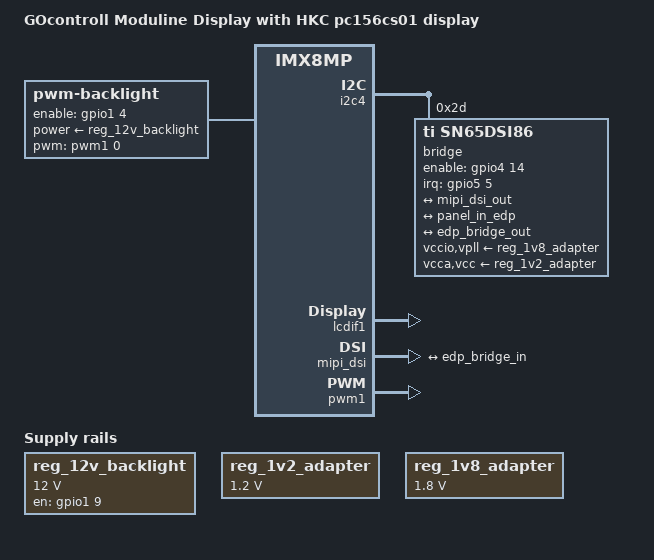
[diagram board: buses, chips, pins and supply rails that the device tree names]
// SPDX-License-Identifier: (GPL-2.0 OR MIT)
/*
 * Copyright 2025 GOcontroll B.V.
 * Author: Maud Spierings <maudspierings@gocontroll.com>
 */

/dts-v1/;

#include "imx8mp-tx8p-ml81-moduline-display-106.dtsi"

/ {
	model = "GOcontroll Moduline Display with HKC pc156cs01 display";

	backlight: backlight {
		compatible = "pwm-backlight";
		pwms = <&pwm1 0 2000000 0>;

		pinctrl-names = "default";
		pinctrl-0 = <&pinctrl_backlight>;
		power-supply = <&reg_12v_backlight>;
		enable-gpios = <&gpio1 4 GPIO_ACTIVE_HIGH>;

		brightness-levels = <0 50 100>;
		default-brightness-level = <50>;
		num-interpolated-steps = <50>;
	};

	dsi86_clk: dsi86-clk {
		compatible = "fixed-clock";
		#clock-cells = <0>;
		clock-frequency = <27000000>;
	};

	reg_12v_backlight: regulator-12v-backlight {
		compatible = "regulator-fixed";
		regulator-name = "12v-backlight";
		regulator-min-microvolt = <12000000>;
		regulator-max-microvolt = <12000000>;
		pinctrl-names = "default";
		pinctrl-0 = <&pinctrl_reg_12v_backlight>;
		gpio = <&gpio1 9 GPIO_ACTIVE_HIGH>;
		enable-active-high;
	};

	reg_1v2_adapter: regulator-1v2-adapter {
		compatible = "regulator-fixed";
		regulator-name = "1v2-adapter";
		regulator-min-microvolt = <1200000>;
		regulator-max-microvolt = <1200000>;
		regulator-always-on;
		pinctrl-names = "default";
		pinctrl-0 = <&pinctrl_reg_1v2_pgood>;
		interrupt-parent = <&gpio4>;
		interrupts = <15 IRQ_TYPE_LEVEL_LOW>;
		power-supply = <&reg_6v4>;
	};

	reg_1v8_adapter: regulator-1v8-adapter {
		compatible = "regulator-fixed";
		regulator-name = "1v8-adapter";
		regulator-min-microvolt = <1800000>;
		regulator-max-microvolt = <1800000>;
		regulator-always-on;
		pinctrl-names = "default";
		pinctrl-0 = <&pinctrl_reg_1v8_pgood>;
		interrupt-parent = <&gpio4>;
		interrupts = <8 IRQ_TYPE_LEVEL_LOW>;
		power-supply = <&reg_6v4>;
	};
};

&i2c4 {
	bridge@2d {
		compatible = "ti,sn65dsi86";
		reg = <0x2d>;

		pinctrl-names = "default";
		pinctrl-0 = <&pinctrl_edp_en &pinctrl_edp_int>;

		enable-gpios = <&gpio4 14 GPIO_ACTIVE_HIGH>;

		interrupt-parent = <&gpio5>;
		interrupts = <5 IRQ_TYPE_LEVEL_HIGH>;

		vccio-supply = <&reg_1v8_adapter>;
		vcca-supply = <&reg_1v2_adapter>;
		vpll-supply = <&reg_1v8_adapter>;
		vcc-supply = <&reg_1v2_adapter>;

		clocks = <&dsi86_clk>;
		clock-names = "refclk";

		ports {
			#address-cells = <1>;
			#size-cells = <0>;

			port@0 {
			reg = <0>;

				edp_bridge_in: endpoint {
					remote-endpoint = <&mipi_dsi_out>;
				};
			};

			port@1 {
			reg = <1>;

				edp_bridge_out: endpoint {
					remote-endpoint = <&panel_in_edp>;
				};
			};
		};

		aux-bus {
			panel {
				compatible = "edp-panel";
				backlight = <&backlight>;
				power-supply = <&reg_3v3_per>;
				
				port {
					panel_in_edp: endpoint {
						remote-endpoint = <&edp_bridge_out>;
					};
				};
			};
		};
	};
};

&lcdif1 {
	status = "okay";
};

&mipi_dsi {
	samsung,esc-clock-frequency = <12000000>;
	status = "okay";
	
	ports {
		port@1 {
			mipi_dsi_out: endpoint {
				remote-endpoint = <&edp_bridge_in>;
			};
		};
	};
};

&pwm1 {
	pinctrl-names = "default";
	pinctrl-0 = <&pinctrl_pwm1>;
	status = "okay";
};

&iomuxc {
	pinctrl_reg_12v_backlight: reg-12v-backlightgrp {
		fsl,pins = <
			MX8MP_IOMUXC_GPIO1_IO09__GPIO1_IO09 /* COM pin 159 */
			MX8MP_DSE_X1
		>;
	};

	pinctrl_reg_1v2_pgood: reg-1v2-pgoodgrp {
		fsl,pins = <
			MX8MP_IOMUXC_SAI1_TXD3__GPIO4_IO15 /* COM pin 112 */
			(MX8MP_PULL_UP | MX8MP_PULL_ENABLE)
		>;
	};

	pinctrl_reg_1v8_pgood: reg-1v8-pgoodgrp {
		fsl,pins = <
			MX8MP_IOMUXC_SAI1_RXD6__GPIO4_IO08 /* COM pin 107 */
			(MX8MP_PULL_UP | MX8MP_PULL_ENABLE)
		>;
	};

	pinctrl_backlight: backlightgrp {
		fsl,pins = <
			MX8MP_IOMUXC_GPIO1_IO04__GPIO1_IO04 /* COM pin 154 */
			MX8MP_DSE_X1
		>;
	};

	pinctrl_edp_en: edpengrp {
		fsl,pins = <
			MX8MP_IOMUXC_SAI1_TXD2__GPIO4_IO14 /* COM pin 113 */
			(MX8MP_PULL_UP | MX8MP_PULL_ENABLE)
		>;
	};

	pinctrl_edp_int: edpintgrp {
		fsl,pins = <
			MX8MP_IOMUXC_SPDIF_EXT_CLK__GPIO5_IO05 /* COM pin 146 */
			(MX8MP_PULL_UP | MX8MP_PULL_ENABLE)
		>;
	};

	pinctrl_pwm1: pwm1grp {
		fsl,pins = <
			MX8MP_IOMUXC_GPIO1_IO01__PWM1_OUT /* COM pin 42 */
			MX8MP_DSE_X1
		>;
	};
};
